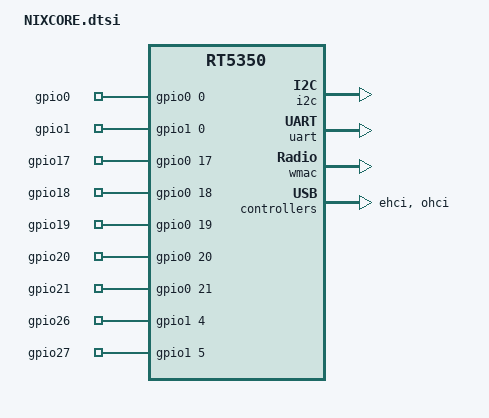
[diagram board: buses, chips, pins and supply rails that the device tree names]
#include "rt5350.dtsi"

/ {
	compatible = "Nixcore", "ralink,rt5350-soc";

	chosen {
		bootargs = "console=ttyS1,57600";
	};

	gpio-export {
		compatible = "gpio-export";
		#size-cells = <0>;

		gpio0 {
			gpio-export,name = "gpio0";
			gpio-export,direction_may_change = <1>;
			gpios = <&gpio0 0 0>;
		};

		gpio1 {
			gpio-export,name = "gpio1";
			gpio-export,direction_may_change = <1>;
			gpios = <&gpio1 0 0>;
		};

		/* GPIOs 1-6 are I2C,SPI */
		/* GPIO 7-14 are uart1 */
		/* GPIOs 15 & 16 are uart2 */
		/* JTAG */

		gpio17 {
			/* JTAG_TDO */
			gpio-export,name = "gpio17";
			gpio-export,direction_may_change = <1>;
			gpios = <&gpio0 17 0>;
		};

		gpio18 {
			/* JTAG_TDI */
			gpio-export,name = "gpio18";
			gpio-export,direction_may_change = <1>;
			gpios = <&gpio0 18 0>;
		};

		gpio19 {
			/* JTAG_TMS */
			gpio-export,name = "gpio19";
			gpio-export,direction_may_change = <1>;
			gpios = <&gpio0 19 0>;
		};

		gpio20 {
			/* JTAG_TCLK */
			gpio-export,name = "gpio20";
			gpio-export,direction_may_change = <1>;
			gpios = <&gpio0 20 0>;
		};

		gpio21 {
			/* JTAG_TRST_N */
			gpio-export,name = "gpio21";
			gpio-export,direction_may_change = <1>;
			gpios = <&gpio0 21 0>;
		};

		/* ETH LEDs */
		/*
		gpio22 {
			gpio-export,name = "gpio22";
			gpio-export,direction_may_change = <1>;
			gpios = <&gpio1 0 0>;
		};

		gpio23 {
			gpio-export,name = "gpio23";
			gpio-export,direction_may_change = <1>;
			gpios = <&gpio1 1 0>;
		};

		gpio24 {
			gpio-export,name = "gpio24";
			gpio-export,direction_may_change = <1>;
			gpios = <&gpio1 2 0>;
		};

		gpio25 {
			gpio-export,name = "gpio25";
			gpio-export,direction_may_change = <1>;
			gpios = <&gpio1 3 0>;
		};

		*/
		gpio26 {
			/* ETH4_LED */
			gpio-export,name = "gpio26";
			gpio-export,direction_may_change = <1>;
			gpios = <&gpio1 4 0>;
		};

		gpio27 {
			/* spi_cs1 */
			gpio-export,name = "gpio27";
			gpio-export,direction_may_change = <1>;
			gpios = <&gpio1 5 0>;
		};
	};
};

&gpio0 {
    status = "okay";
};

&gpio1 {
    status = "okay";
};

&i2c {
    status = "okay";
};

&uart {
    status = "okay";
    reset-names = "gpio uartf";
};

&pinctrl {
	state_default: pinctrl0 {
		gpio {
			ralink,group = "jtag", "led", "spi_cs1";
			ralink,function = "gpio";
		};
	};
};

&ethernet {
	mtd-mac-address = <&factory 0x4>;
};

&esw {
	mediatek,portmap = <0x17>;
};

&wmac {
	ralink,mtd-eeprom = <&factory 0>;
};

&ehci {
	status = "okay";
};

&ohci {
	status = "okay";
};
